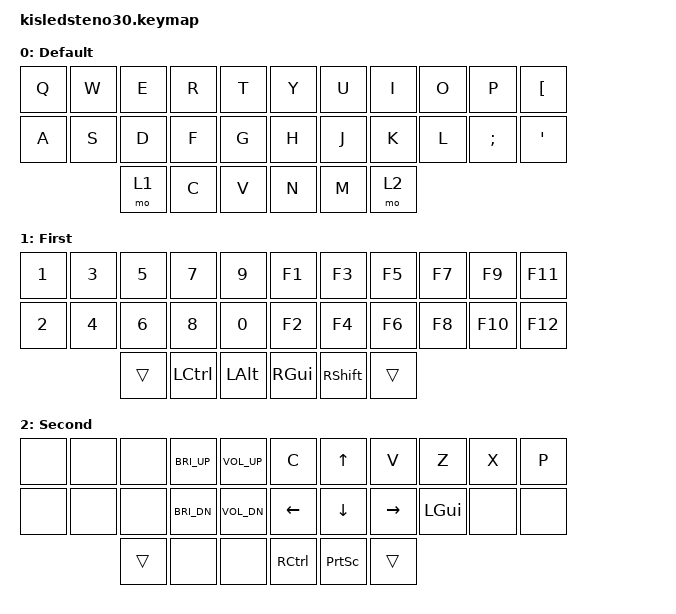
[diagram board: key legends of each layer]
/*
 * Copyright (c) 2020 The ZMK Contributors
 * and (c) 2022 tubbytwins (Matthew A. Schnoor) and beekeeb
 *
 * SPDX-License-Identifier: MIT
 */

#include <behaviors.dtsi>
#include <dt-bindings/zmk/keys.h>



#define DEFAULT 0
#define FIRST 1
#define SECOND 2


/ {
        keymap {
                compatible = "zmk,keymap";
                label = "KisledSteno30";
                default_layer {
                        label = "Default";
                        bindings = <
        &kp Q  &kp W  &kp E  &kp R  &kp T       &kp Y  &kp U  &kp I  &kp O  &kp P    &kp LBKT                
        &kp A  &kp S  &kp D  &kp F  &kp G       &kp H  &kp J  &kp K  &kp L  &kp SEMI &kp SQT
                      &mo 1  &kp C  &kp V       &kp N  &kp M  &mo 2  
                        >;
                };
                first_layer {
                        label = "First";
                        bindings = <
        &kp N1  &kp N3  &kp N5  &kp N7  &kp N9       &kp F1  &kp F3  &kp F5  &kp F7  &kp F9  &kp F11                
        &kp N2  &kp N4  &kp N6  &kp N8  &kp N0       &kp F2  &kp F4  &kp F6  &kp F8  &kp F10 &kp F12
                      &trans &kp LCTRL  &kp LALT     &kp RIGHT_GUI  &kp RSHIFT  &trans               
                        >;
                };
                second_layer {
                        label = "Second";
                        bindings = <
        &none   &none   &none  &kp C_BRI_UP  &kp C_VOL_UP        &kp C     &kp UP    &kp V     &kp Z          &kp X  &kp P                
        &none   &none   &none  &kp C_BRI_DN  &kp C_VOL_DN        &kp LEFT  &kp DOWN  &kp RIGHT &kp LEFT_GUI   &none  &none 
                        &trans &none         &none               &kp RCTRL &kp PSCRN &trans                
                        >;
                };
        };
};



// / {
//         keymap {
//                 compatible = "zmk,keymap";
// 		label = "KisledSteno30";
		
//                 default_layer {
//                 label = "Default";
//                 	bindings = <

//    &kp TAB    &kp Q  &kp W  &kp E  &kp R  &kp T           &kp Y   &kp U  &kp I     &kp O    &kp P     &kp BSPC
//    &kp LCTRL  &kp A  &kp S  &kp D  &kp F  &kp G           &kp H   &kp J  &kp K     &kp L    &kp SEMI  &kp SQT
//    &kp LSHFT  &kp Z  &kp X  &kp C  &kp V  &kp B           &kp N   &kp M  &kp COMMA &kp DOT  &kp SLASH &kp RSHFT
//                          &kp LGUI  &mo 1  &kp SPACE       &kp RET &mo 2  &kp RALT
//                         >;
//                 };

//                 first_layer {
//                 label = "First";
//                 	bindings = <
//    &trans     &kp F1  &kp F2  &kp F3  &kp F4  &kp F5      &kp F6  &kp F7  &kp F8  &kp F9  &kp F10  &trans
//    &trans     &kp N1  &kp N2  &kp N3  &kp N4  &kp N5      &kp N6  &kp N7  &kp N8  &kp N9  &kp N0   &trans
//    &trans     &none   &none   &none   &kp F11 &none       &none   &kp F12 &none   &none   &none    &trans            	
//                               &trans  &trans  &trans      &trans  &mo 3   &trans
//                         >;
//                 };
                
//                 second_layer {
//                 label = "Second";
//                 	bindings = <
//    &trans     &none    &none  &none    &none    &none         &kp MINUS &kp EQUAL &kp LBRC &kp RBRC &kp BSLH &trans
//    &trans     &kp EXCL &kp AT &kp HASH &kp DLLR &kp PRCNT     &kp CARET &kp AMPS  &kp STAR &kp LPAR &kp RPAR &kp GRAVE
//    &trans     &none    &none  &none    &none    &none         &kp UNDER &kp PLUS  &kp LBKT &kp RBKT &kp PIPE &kp TILDE
//                               &trans   &mo 3    &trans        &trans    &trans    &trans
//                 	>;
                
//                 };

//                 third_layer {
//                 label = "Third";
//                 	bindings = <
//    &bootloader  &none  &none  &none  &none  &none     &none  &none  &none  &none  &none  &none
//    &none        &none  &none  &none  &none  &none     &none  &none  &none  &none  &none  &none
//    &none        &none  &none  &none  &none  &none     &none  &none  &none  &none  &none  &none
//                               &trans &trans &trans    &trans &trans &trans
//                            >;
//                 };

//         };
// };



